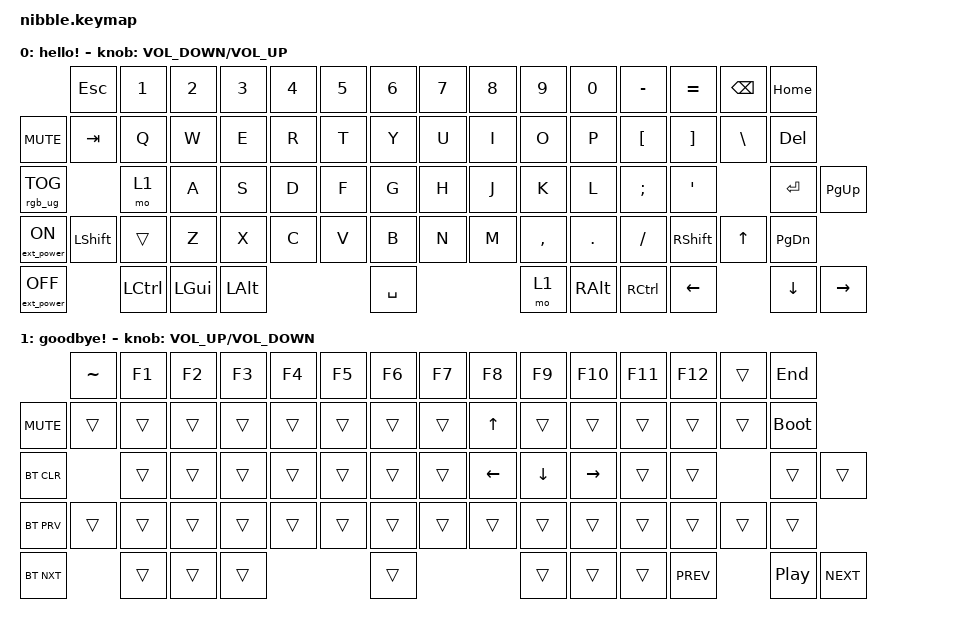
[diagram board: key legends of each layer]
#include <behaviors.dtsi>
#include <dt-bindings/zmk/keys.h>
#include <dt-bindings/zmk/bt.h>
#include <dt-bindings/zmk/rgb.h>
#include <../boards/shields/nibble/boards/nice_nano.overlay>
#include <dt-bindings/zmk/ext_power.h>

/ {
	sensors {
		compatible = "zmk,keymap-sensors";
		sensors = <&encoder_1>;
	};

	keymap {
		compatible = "zmk,keymap";
		default_layer {
			label = "hello!";

			sensor-bindings = <&inc_dec_kp C_VOLUME_DOWN C_VOLUME_UP>;

			bindings = <
            &kp ESC   &kp N1    &kp N2    &kp N3    &kp N4    &kp N5    &kp N6    &kp N7    &kp N8  &kp N9    &kp N0    &kp MINUS &kp EQUAL &kp BSPC &kp HOME
&kp C_MUTE  &kp TAB   &kp Q     &kp W     &kp E     &kp R     &kp T     &kp Y     &kp U     &kp I   &kp O     &kp P     &kp LBKT  &kp RBKT  &kp BSLH &kp DEL
&rgb_ug RGB_TOG      &mo 1  &kp A     &kp S     &kp D     &kp F     &kp G     &kp H     &kp J     &kp K   &kp L     &kp SEMI  &kp SQT             &kp RET  &kp PG_UP
&ext_power EP_ON      &kp LSHFT &trans    &kp Z     &kp X     &kp C     &kp V     &kp B     &kp N     &kp M   &kp COMMA &kp DOT   &kp FSLH  &kp RSHFT &kp UP   &kp PG_DN
&ext_power EP_OFF     &kp LCTRL &kp LGUI  &kp LALT                      &kp SPACE                     &mo 1   &kp RALT  &kp RCTRL &kp LEFT            &kp DOWN &kp RIGHT
			>;
		};	
		function_layer {
			label = "goodbye!";
			
			sensor-bindings = <&inc_dec_kp C_VOLUME_UP C_VOLUME_DOWN>;

			bindings = <
            &kp TILDE &kp F1    &kp F2    &kp F3    &kp F4    &kp F5    &kp F6    &kp F7    &kp F8  &kp F9    &kp F10   &kp F11   &kp F12   &trans   &kp END
&kp C_MUTE  &trans    &trans    &trans    &trans    &trans    &trans    &trans    &trans    &kp UP  &trans    &trans    &trans    &trans    &trans   &bootloader
&bt BT_CLR  &trans    &trans    &trans    &trans    &trans    &trans    &trans    &kp LEFT    &kp DOWN    &kp RIGHT    &trans    &trans              &trans   &trans
&bt BT_PRV  &trans    &trans    &trans    &trans    &trans    &trans    &trans    &trans    &trans  &trans    &trans    &trans    &trans    &trans   &trans
&bt BT_NXT  &trans    &trans    &trans                        &trans                        &trans  &trans    &trans    &kp C_PREV          &kp C_PP &kp C_NEXT
			>;
		};
	};
};
